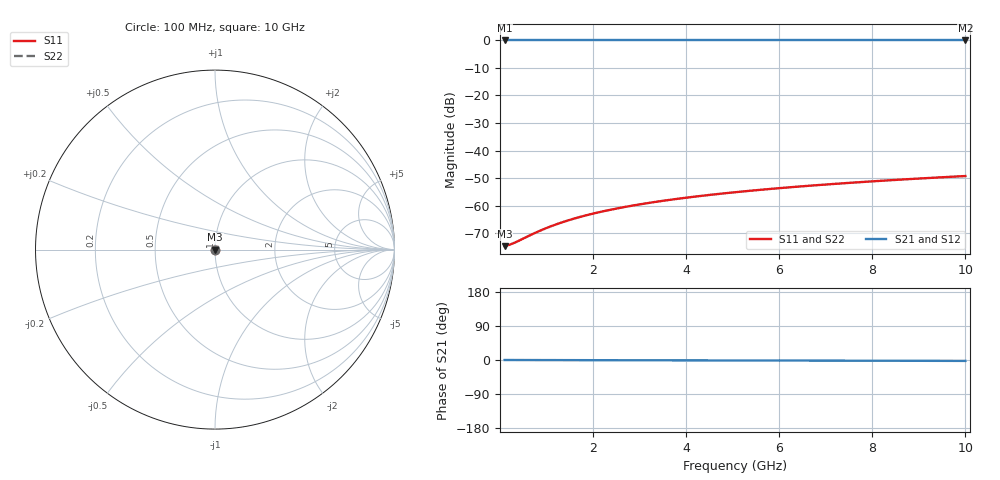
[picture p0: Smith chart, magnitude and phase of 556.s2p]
# Hz S RI R 50.00
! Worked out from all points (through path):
!   100 points, 100 MHz to 10 GHz, reference 50 ohm
!   highest |S21| = 0.00 dB at 100 MHz (marker M1); lowest = 0.0 dB at 10 GHz (marker M2)
!   lowest |S11| = -74.8 dB at 100 MHz (marker M3), VSWR 1.00, Z = 50 + j0.00344 ohm
!   |S11| at or under -10 dB: start of sweep to end of sweep
!   |S22| runs from -74.8 to -49.3 dB; largest |S21 - S12| = 0
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1e8  0.000179 3.44e-05  0.9998 -0.000415  0.9998 -0.000415  0.000179 3.44e-05
2e8  0.000181 6.88e-05  0.9998 -0.00083  0.9998 -0.00083  0.000181 6.88e-05
3e8  0.000181 0.000103  0.9998 -0.00124  0.9998 -0.00124  0.000181 0.000103
8e8  0.000184 0.000275  0.9998 -0.00332  0.9998 -0.00332  0.000184 0.000275
9e8  0.000185 0.00031  0.9998 -0.00373  0.9998 -0.00373  0.000185 0.00031
1.1e9  0.000186 0.000378  0.9998 -0.00456  0.9998 -0.00456  0.000186 0.000378
1.4e9  0.000187 0.000481  0.9998 -0.00581  0.9998 -0.00581  0.000187 0.000481
1.6e9  0.000188 0.00055  0.9998 -0.00664  0.9998 -0.00664  0.000188 0.00055
1.8e9  0.00019 0.000619  0.9998 -0.00747  0.9998 -0.00747  0.00019 0.000619
2.1e9  0.000192 0.000722  0.9998 -0.00871  0.9998 -0.00871  0.000192 0.000722
2.5e9  0.000195 0.000859  0.9998 -0.0104  0.9998 -0.0104  0.000195 0.000859
2.9e9  0.000198 0.000996  0.9997 -0.012  0.9997 -0.012  0.000198 0.000996
3.4e9  0.000203 0.00117  0.9997 -0.0141  0.9997 -0.0141  0.000203 0.00117
3.8e9  0.000207 0.0013  0.9997 -0.0158  0.9997 -0.0158  0.000207 0.0013
4.2e9  0.000212 0.00144  0.9996 -0.0174  0.9996 -0.0174  0.000212 0.00144
4.6e9  0.000217 0.00158  0.9996 -0.0191  0.9996 -0.0191  0.000217 0.00158
5.1e9  0.000224 0.00175  0.9996 -0.0212  0.9996 -0.0212  0.000224 0.00175
5.9e9  0.000237 0.00202  0.9995 -0.0245  0.9995 -0.0245  0.000237 0.00202
6.7e9  0.000252 0.00229  0.9994 -0.0279  0.9994 -0.0279  0.000252 0.00229
7.5e9  0.000268 0.00257  0.9993 -0.0312  0.9993 -0.0312  0.000268 0.00257
8.4e9  0.000289 0.00287  0.9992 -0.035  0.9992 -0.035  0.000289 0.00287
1e10  0.000332 0.00342  0.9989 -0.0417  0.9989 -0.0417  0.000332 0.00342
